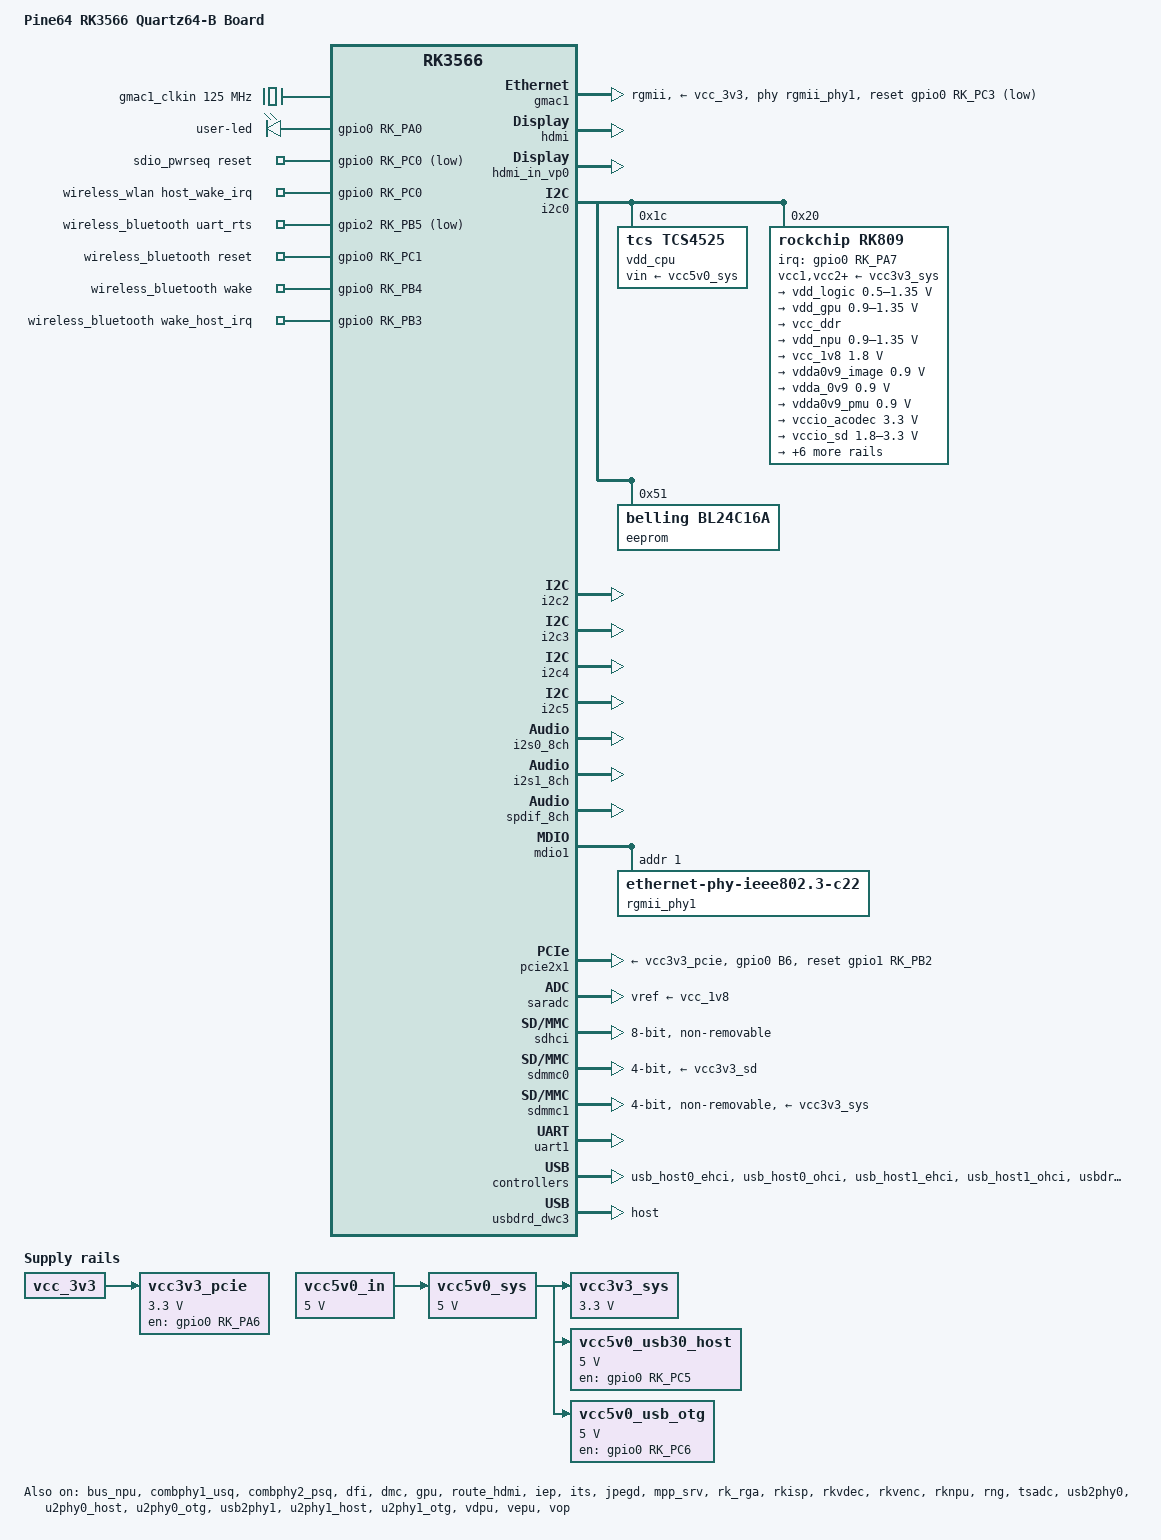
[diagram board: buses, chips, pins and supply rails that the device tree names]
// SPDX&sata1 -License-Identifier: (GPL-2.0+ OR MIT)
/*
 *
 */

/dts-v1/;

#include <dt-bindings/gpio/gpio.h>
#include <dt-bindings/pwm/pwm.h>
#include <dt-bindings/pinctrl/rockchip.h>
#include <dt-bindings/input/rk-input.h>
#include <dt-bindings/display/drm_mipi_dsi.h>
#include <dt-bindings/sensor-dev.h>
#include <dt-bindings/display/media-bus-format.h>
#include <dt-bindings/display/rockchip_vop.h>
/* for 1056000 memeory speed */
//#include "rk3566-diff3.dtsi"
/* for 1560000 memeory speed */
//#include "rk3566-diff2.dtsi" 
#include "rk3566.dtsi"
#include "rk3568-android.dtsi"


/ {
	model = "Pine64 RK3566 Quartz64-B Board";
	compatible = "pine64,quartz64-b", "rockchip,rk3566";

//	chosen: chosen {
//		bootargs = "earlycon=uart8250,mmio32,0xfe660000 console=ttyFIQ0 root=PARTLABEL=rootfs rootfstype=ext4 rw rootwait overlayroot=device:dev=PARTLABEL=userdata,fstype=ext4,mkfs=1";
//	};
//	chosen: chosen {
//		bootargs = "earlycon=uart8250,mmio32,0xfe660000 console=ttyFIQ0";
//

	aliases {
		ethernet0 = &gmac1;
		mmc0 = &sdmmc0;
		mmc1 = &sdhci;
		mmc2 = &sdmmc1;
	};

	chosen: chosen {
		stdout-path = "serial2:1500000n8";
	};

	gmac1_clkin: external-gmac1-clock {
		compatible = "fixed-clock";
		clock-frequency = <125000000>;
		clock-output-names = "gmac1_clkin";
		#clock-cells = <0>;
	};

	leds {
		compatible = "gpio-leds";

		led-user {
			label = "user-led";
			default-state = "on";
			gpios = <&gpio0 RK_PA0 GPIO_ACTIVE_HIGH>;
			linux,default-trigger = "heartbeat";
			pinctrl-names = "default";
			pinctrl-0 = <&user_led_enable_h>;
			retain-state-suspended;
		};
	};

	hdmi_sound: hdmi-sound {
		compatible = "simple-audio-card";
		simple-audio-card,format = "i2s";
		simple-audio-card,mclk-fs = <128>;
		simple-audio-card,name = "rockchip,hdmi";
		status = "okay";

		simple-audio-card,cpu {
				sound-dai = <&i2s0_8ch>;
		};
		simple-audio-card,codec {
				sound-dai = <&hdmi>;
		};
	};

	pdmics: dummy-codec {
		status = "disabled";
		compatible = "rockchip,dummy-codec";
		#sound-dai-cells = <0>;
	};

	pdm_mic_array: pdm-mic-array {
		status = "disabled";
		compatible = "simple-audio-card";
		simple-audio-card,name = "rockchip,pdm-mic-array";
		simple-audio-card,cpu {
			sound-dai = <&pdm>;
		};
		simple-audio-card,codec {
			sound-dai = <&pdmics>;
		};
	};

	rk809_sound: rk809-sound {
		status = "okay";
		compatible = "simple-audio-card";
		simple-audio-card,format = "i2s";
		simple-audio-card,name = "rockchip,rk809-codec";
		simple-audio-card,mclk-fs = <256>;

		simple-audio-card,cpu {
			sound-dai = <&i2s1_8ch>;
		};
		simple-audio-card,codec {
			sound-dai = <&rk809_codec>;
		};
	};

	reserved_memory: reserved-memory {
		#address-cells = <2>;
		#size-cells = <2>;
		ranges;
		
		rknpu_reserved: rknpu {
			compatible = "shared-dma-pool";
			inactive;
			reusable;     
			size = <0x0 0x20000000>;
			alignment = <0x0 0x1000>;
		};
	};

	sdio_pwrseq: sdio-pwrseq {
		status = "okay";
		compatible = "mmc-pwrseq-simple";
		clocks = <&rk809 1>;
		clock-names = "ext_clock";
		pinctrl-names = "default";
		pinctrl-0 = <&wifi_enable_h>;
		reset-gpios = <&gpio0 RK_PC0 GPIO_ACTIVE_LOW>;
		post-power-on-delay-ms = <100>;
		power-off-delay-us = <5000000>;
	};

	vcc5v0_in: vcc5v0_in {
		compatible = "regulator-fixed";
		regulator-name = "vcc5v0_in";
		regulator-always-on;
		regulator-boot-on;
		regulator-min-microvolt = <5000000>;
		regulator-max-microvolt = <5000000>;
	};

	vcc5v0_sys: vcc5v0_sys {
		compatible = "regulator-fixed";
		regulator-name = "vcc5v0_sys";
		regulator-always-on;
		regulator-boot-on;
		regulator-min-microvolt = <5000000>;
		regulator-max-microvolt = <5000000>;
		vin-supply = <&vcc5v0_in>;
	};

	vcc3v3_sys: vcc3v3_sys {
		compatible = "regulator-fixed";
		regulator-name = "vcc3v3_sys";
		regulator-min-microvolt = <3300000>;
		regulator-max-microvolt = <3300000>;
		regulator-always-on;
		vin-supply = <&vcc5v0_sys>;
	};

	vcc5v0_usb30_host: vcc5v0_usb30_host {
		compatible = "regulator-fixed";
		regulator-name = "vcc5v0_usb30_host";
		enable-active-high;
		gpio = <&gpio0 RK_PC5 GPIO_ACTIVE_HIGH>;
		pinctrl-names = "default";
		pinctrl-0 = <&vcc5v0_usb30_host_en_h>;
		regulator-always-on;
		regulator-min-microvolt = <5000000>;
		regulator-max-microvolt = <5000000>;
		vin-supply = <&vcc5v0_sys>;
	};

	vcc5v0_usb_otg: vcc5v0_usb_otg {
		compatible = "regulator-fixed";
		regulator-name = "vcc5v0_usb_otg";
		enable-active-high;
		gpio = <&gpio0 RK_PC6 GPIO_ACTIVE_HIGH>;
		pinctrl-names = "default";
		pinctrl-0 = <&vcc5v0_usb_otg_en_h>;
		regulator-always-on;
		regulator-min-microvolt = <5000000>;
		regulator-max-microvolt = <5000000>;
		vin-supply = <&vcc5v0_sys>;
	};

	vcc3v3_pcie: vcc3v3_pcie {
		compatible = "regulator-fixed";
		regulator-name = "vcc3v3_pcie";
		enable-active-high;
		gpio = <&gpio0 RK_PA6 GPIO_ACTIVE_HIGH>;
		pinctrl-names = "default";
		pinctrl-0 = <&vcc3v3_pcie_en_h>;
		regulator-min-microvolt = <3300000>;
		regulator-max-microvolt = <3300000>;
		vin-supply = <&vcc_3v3>;
	};


	wireless_wlan: wireless-wlan {
    
		compatible = "wlan-platdata";
		rockchip,grf = <&grf>;
		clocks = <&rk809 1>;
		clock-names = "clk_wifi";
		wifi_chip_type = "ap6255";
		pinctrl-names = "default";
		pinctrl-0 = <&wifi_host_wake_irq>;
		WIFI,host_wake_irq = <&gpio0 RK_PC0 GPIO_ACTIVE_HIGH>;
		status = "okay";
	};

	wireless_bluetooth: wireless-bluetooth {
    
		compatible = "bluetooth-platdata";
		clocks = <&rk809 1>;
		clock-names = "ext_clock";
		//wifi-bt-power-toggle;
		uart_rts_gpios = <&gpio2 RK_PB5 GPIO_ACTIVE_LOW>;
		pinctrl-names = "default", "rts_gpio";
		pinctrl-0 = <&uart1m0_rtsn>;
		pinctrl-1 = <&uart1_gpios>;
		BT,reset_gpio    = <&gpio0 RK_PC1 GPIO_ACTIVE_HIGH>;
		BT,wake_gpio     = <&gpio0 RK_PB4 GPIO_ACTIVE_HIGH>;
		BT,wake_host_irq = <&gpio0 RK_PB3 GPIO_ACTIVE_HIGH>;
		status = "okay";
	};

};

&bus_npu {
	bus-supply = <&vdd_logic>;
	pvtm-supply = <&vdd_cpu>;
	status = "okay";
};

&combphy1_usq {
	status = "okay";
};

&combphy2_psq {
	status = "okay";
};

&cpu0 {
	cpu-supply = <&vdd_cpu>;
};


&dfi {
	status = "okay";
};

// &display_subsystem {
//    status = "okay";
// };

&dmc {
	//auto-freq-en = <0>;
	center-supply = <&vdd_logic>;
	status = "okay";
};

&gmac1 {
	phy-mode = "rgmii";
	clock_in_out = "input";
	
	snps,reset-gpio = <&gpio0 RK_PC3 GPIO_ACTIVE_LOW>;
	snps,reset-active-low;
	/* Reset time is 20ms, 100ms for rtl8211f */
	snps,reset-delays-us = <0 20000 100000>;
	
	assigned-clocks = <&cru SCLK_GMAC1_RX_TX>, <&cru SCLK_GMAC1_RGMII_SPEED>, <&cru SCLK_GMAC1>;
	assigned-clock-parents = <&cru SCLK_GMAC1_RGMII_SPEED>, <&cru SCLK_GMAC1>, <&gmac1_clkin>;
	
	
	pinctrl-names = "default";
	pinctrl-0 = <&gmac1m0_miim
		     &gmac1m0_tx_bus2
		     &gmac1m0_rx_bus2
		     &gmac1m0_rgmii_clk
		     &gmac1m0_clkinout
		     &gmac1m0_rgmii_bus>;
	
	tx_delay = <0x30>;
	rx_delay = <0x10>;
	
	phy-handle = <&rgmii_phy1>;
	phy-supply = <&vcc_3v3>;
	status = "okay";
};

&gpu {
	mali-supply = <&vdd_gpu>;
	status = "okay";
};

&hdmi {
	status = "okay";
};

&hdmi_in_vp0 {
	status = "okay";
};

&hdmi_in_vp1 {
	status = "disabled";
};

&hdmi_sound {
	status = "okay";
};

&route_hdmi {
	status = "okay";
	connect = <&vp0_out_hdmi>;
};

//&video_phy0 {
//	status = "okay";
//};

&video_phy1 {
	status = "disabled";
};


&i2c0 {
	status = "okay";

	vdd_cpu: regulator@1c {
		compatible = "tcs,tcs4525";
		reg = <0x1c>;
		fcs,suspend-voltage-selector = <1>;
		regulator-name = "vdd_cpu";
		regulator-min-microvolt = <800000>;
		regulator-max-microvolt = <1150000>;
		regulator-ramp-delay = <2300>;
		regulator-always-on;
		regulator-boot-on;
		vin-supply = <&vcc5v0_sys>;

		regulator-state-mem {
			regulator-off-in-suspend;
		};
	};

	rk809: pmic@20 {
		compatible = "rockchip,rk809";
		reg = <0x20>;
		interrupt-parent = <&gpio0>;
		interrupts = <RK_PA7 IRQ_TYPE_LEVEL_LOW>;
		clock-output-names = "rk808-clkout1", "rk808-clkout2";

		pinctrl-names = "default";
		pinctrl-0 = <&pmic_int>;
		rockchip,system-power-controller;
		wakeup-source;
		#clock-cells = <1>;

		vcc1-supply = <&vcc3v3_sys>;
		vcc2-supply = <&vcc3v3_sys>;
		vcc3-supply = <&vcc3v3_sys>;
		vcc4-supply = <&vcc3v3_sys>;
		vcc5-supply = <&vcc3v3_sys>;
		vcc6-supply = <&vcc3v3_sys>;
		vcc7-supply = <&vcc3v3_sys>;
		vcc8-supply = <&vcc3v3_sys>;
		vcc9-supply = <&vcc3v3_sys>;

		regulators {
			vdd_logic: DCDC_REG1 {
				regulator-name = "vdd_logic";
				regulator-always-on;
				regulator-boot-on;
				regulator-min-microvolt = <500000>;
				regulator-max-microvolt = <1350000>;
				regulator-init-microvolt = <900000>;
				regulator-ramp-delay = <6001>;

				regulator-state-mem {
					regulator-on-in-suspend;
					regulator-suspend-microvolt = <900000>;
				};
			};

			vdd_gpu: DCDC_REG2 {
				regulator-name = "vdd_gpu";
				regulator-always-on;
				regulator-boot-on;
				regulator-min-microvolt = <900000>;
				regulator-max-microvolt = <1350000>;
				regulator-init-microvolt = <900000>;
				regulator-ramp-delay = <6001>;

				regulator-state-mem {
					regulator-off-in-suspend;
					regulator-suspend-microvolt = <900000>;
				};
			};

			vcc_ddr: DCDC_REG3 {
				regulator-name = "vcc_ddr";
				regulator-always-on;
				regulator-boot-on;
				regulator-initial-mode = <0x2>;
				regulator-state-mem {
					regulator-on-in-suspend;
				};
			};

			vdd_npu: DCDC_REG4 {
				regulator-name = "vdd_npu";
				regulator-min-microvolt = <900000>;
				regulator-max-microvolt = <1350000>;
				regulator-initial-mode = <0x2>;
				regulator-state-mem {
					regulator-off-in-suspend;
				};
			};

			vcc_1v8: DCDC_REG5 {
				regulator-name = "vcc_1v8";
				regulator-always-on;
				regulator-boot-on;
				regulator-min-microvolt = <1800000>;
				regulator-max-microvolt = <1800000>;

				regulator-state-mem {
					regulator-on-in-suspend;
					regulator-suspend-microvolt = <1800000>;
				};
			};

			vdda0v9_image: LDO_REG1 {
				regulator-name = "vdda0v9_image";
				regulator-always-on;
				regulator-boot-on;
				regulator-min-microvolt = <900000>;
				regulator-max-microvolt = <900000>;

				regulator-state-mem {
					regulator-on-in-suspend;
					regulator-suspend-microvolt = <900000>;
				};
			};

			vdda_0v9: LDO_REG2 {
				regulator-name = "vdda_0v9";
				regulator-always-on;
				regulator-boot-on;
				regulator-min-microvolt = <900000>;
				regulator-max-microvolt = <900000>;

				regulator-state-mem {
					regulator-on-in-suspend;
					regulator-suspend-microvolt = <900000>;
				};
			};

			vdda0v9_pmu: LDO_REG3 {
				regulator-name = "vdda0v9_pmu";
				regulator-always-on;
				regulator-boot-on;
				regulator-min-microvolt = <900000>;
				regulator-max-microvolt = <900000>;
				regulator-state-mem {
					regulator-on-in-suspend;
					regulator-suspend-microvolt = <900000>;
				};
			};

			vccio_acodec: LDO_REG4 {
				regulator-name = "vccio_acodec";
				regulator-always-on;
				regulator-boot-on;
				regulator-min-microvolt = <3300000>;
				regulator-max-microvolt = <3300000>;

				regulator-state-mem {
					regulator-on-in-suspend;
					regulator-suspend-microvolt = <3300000>;

				};
			};

			vccio_sd: LDO_REG5 {
				regulator-name = "vccio_sd";
				regulator-always-on;
				regulator-boot-on;
				regulator-min-microvolt = <1800000>;
				regulator-max-microvolt = <3300000>;

				regulator-state-mem {
					regulator-on-in-suspend;
					regulator-suspend-microvolt = <3300000>;
				};
			};

			vcc3v3_pmu: LDO_REG6 {
				regulator-name = "vcc3v3_pmu";
				regulator-always-on;
				regulator-boot-on;
				regulator-min-microvolt = <3300000>;
				regulator-max-microvolt = <3300000>;

				regulator-state-mem {
					regulator-on-in-suspend;
					regulator-suspend-microvolt = <3300000>;
				};
			};

			vcca_1v8: LDO_REG7 {
				regulator-name = "vcca_1v8";
				regulator-always-on;
				regulator-boot-on;
				regulator-min-microvolt = <1800000>;
				regulator-max-microvolt = <1800000>;

				regulator-state-mem {
					regulator-on-in-suspend;
					regulator-suspend-microvolt = <1800000>;
				};
			};

			vcca1v8_pmu: LDO_REG8 {
				regulator-name = "vcca1v8_pmu";
				regulator-always-on;
				regulator-boot-on;
				regulator-min-microvolt = <1800000>;
				regulator-max-microvolt = <1800000>;

				regulator-state-mem {
					regulator-on-in-suspend;
					regulator-suspend-microvolt = <1800000>;
				};
			};

			vcca1v8_image: LDO_REG9 {
				regulator-name = "vcca1v8_image";
				regulator-always-on;
				regulator-boot-on;
				regulator-min-microvolt = <1800000>;
				regulator-max-microvolt = <1800000>;

				regulator-state-mem {
					regulator-on-in-suspend;
					regulator-suspend-microvolt = <1800000>;
				};
			};

			vcc_3v3: SWITCH_REG1 {
				regulator-boot-on;
				regulator-name = "vcc_3v3";
			};

			vcc3v3_sd: SWITCH_REG2 {
				regulator-name = "vcc3v3_sd";
			};
		};

		rk809_codec: codec {
			#sound-dai-cells = <0>;
			compatible = "rockchip,rk809-codec", "rockchip,rk817-codec";
			clocks = <&cru I2S1_MCLKOUT>;
			clock-names = "mclk";
			assigned-clocks = <&cru I2S1_MCLKOUT>, <&cru I2S1_MCLK_TX_IOE>;
			assigned-clock-rates = <12288000>;
			assigned-clock-parents = <&cru I2S1_MCLKOUT_TX>, <&cru I2S1_MCLKOUT_TX>;
			pinctrl-names = "default";
			pinctrl-0 = <&i2s1m0_mclk>;
			hp-volume = <20>;
			spk-volume = <3>;
			mic-in-differential;
			status = "okay";
		};
	
};

	eeprom@51 {
		compatible = "belling,bl24c16a", "atmel,24c16";
		reg = <0x51>;
		pagesize = <16>;
	};
};

/* i2c2_m1 exposed on csi port, pulled up to vcc_gmac */
&i2c2 {
	pinctrl-names = "default";
	pinctrl-0 = <&i2c2m1_xfer>;
	status = "okay";
};

/* i2c3_m1 exposed on dsi port, pulled up to vcc_gmac */
&i2c3 {
	pinctrl-names = "default";
	pinctrl-0 = <&i2c3m1_xfer>;
	status = "okay";
};

/* i2c4_m0 is exposed on PI40
 * pin 27 - i2c4_sda_m0
 * pin 28 - i2c4_scl_m0
 */
&i2c4 {
	status = "okay";
};

/* i2c5_m0 is exposed on PI40
 * pin 29 - i2c5_scl_m0
 * pin 31 - i2c5_sda_m0
 */
&i2c5 {
	status = "okay";
};

&i2s0_8ch {
	status = "okay";
};

&i2s1_8ch {
    
	status = "okay";
	rockchip,clk-trcm = <1>;
	pinctrl-names = "default";
	pinctrl-0 = <&i2s1m0_sclktx
		     &i2s1m0_lrcktx
		     &i2s1m0_sdi0
		     &i2s1m0_sdo0>;
};

&spdif_8ch {
	status = "okay";
};

&iep {
	status = "okay";
};

&iep_mmu {
	status = "okay";
};

&its {
    status = "okay";
};

&jpegd {
	status = "okay";
};

&jpegd_mmu {
	status = "okay";
};

&mdio1 {
	rgmii_phy1: ethernet-phy@0 {
		compatible = "ethernet-phy-ieee802.3-c22";
		reg = <0x1>;
	};
};

&mpp_srv {
	status = "okay";
};

&nandc0 {
	status = "disabled";
};

&pcie2x1 {
	pinctrl-names = "default";
	pinctrl-0 = <&pcie_reset_h>;
	reset-gpios = <&gpio1 RK_PB2 GPIO_ACTIVE_HIGH>;
	vpcie3v3-supply = <&vcc3v3_pcie>;
	status = "okay";
};

&pinctrl {
	bt {
		bt_enable_h: bt-enable-h {
			rockchip,pins = <0 RK_PC1 RK_FUNC_GPIO &pcfg_pull_none>;
		};

		bt_host_wake_l: bt-host-wake-l {
			rockchip,pins = <0 RK_PB3 RK_FUNC_GPIO &pcfg_pull_down>;
		};

		bt_wake_l: bt-wake-l {
			rockchip,pins = <0 RK_PB4 RK_FUNC_GPIO &pcfg_pull_none>;
		};
	};

	leds {
		user_led_enable_h: user-led-enable-h {
			rockchip,pins = <0 RK_PA0 RK_FUNC_GPIO &pcfg_pull_none>;
		};
	};

	pcie {
		vcc3v3_pcie_en_h: vcc3v3-pcie-en-h {
			rockchip,pins = <0 RK_PA6 RK_FUNC_GPIO &pcfg_pull_none>;
		};

		pcie_reset_h: pcie-reset-h {
			rockchip,pins = <0 RK_PB6 RK_FUNC_GPIO &pcfg_pull_none>;
		};
	};

	pmic {
		pmic_int: pmic_int {
			rockchip,pins =
				<0 RK_PA3 RK_FUNC_GPIO &pcfg_pull_up>;
		};
	};

	sdio-pwrseq {
		wifi_enable_h: wifi-enable-h {
			rockchip,pins = <0 RK_PC0 RK_FUNC_GPIO &pcfg_pull_none>;
		};
	};

	wireless-bluetooth {
		uart1_gpios: uart1-gpios {
			rockchip,pins = <2 RK_PB5 RK_FUNC_GPIO &pcfg_pull_none>;
		};
	};

	wireless-wlan {
		wifi_host_wake_irq: wifi-host-wake-irq {
			rockchip,pins = <2 RK_PC3 RK_FUNC_GPIO &pcfg_pull_down>;
		};
	};

	usb {
		vcc5v0_usb30_host_en_h: vcc5v0-usb30-host-en_h {
			rockchip,pins = <0 RK_PC5 RK_FUNC_GPIO &pcfg_pull_none>;
		};

		vcc5v0_usb_otg_en_h: vcc5v0-usb-otg-en_h {
			rockchip,pins = <0 RK_PC6 RK_FUNC_GPIO &pcfg_pull_none>;
		};
	};
};

&pmu_io_domains {
	status = "okay";
	pmuio1-supply = <&vcc3v3_pmu>;
	pmuio2-supply = <&vcca1v8_pmu>;
	vccio1-supply = <&vccio_acodec>;
	vccio2-supply = <&vcc_1v8>;
	vccio3-supply = <&vccio_sd>;
	vccio4-supply = <&vcca1v8_pmu>;
	vccio5-supply = <&vcc_3v3>;
	vccio6-supply = <&vcc_3v3>;
	vccio7-supply = <&vcc_3v3>;
};


&rk_rga {
	status = "okay";
};

&rkisp {
	status = "okay";
};

&rkisp_mmu {
	status = "okay";
};

&rkisp_vir0 {
	status = "disabled";

};

&rkvdec {
	status = "okay";
};

&rkvdec_mmu {
	status = "okay";
};

&rkvenc {
	venc-supply = <&vdd_logic>;
	status = "okay";
};

&rkvenc_mmu {
	status = "okay";
};

&rknpu {
	memory-region = <&rknpu_reserved>;
	rknpu-supply = <&vdd_npu>;
	status = "okay";
};

&rknpu_mmu {
	status = "disabled";
};

&rng {
	status = "okay";
};


&saradc {
	status = "okay";
	vref-supply = <&vcc_1v8>;
};

/* sata1 is muxed with the usb3 port */
&sata1 {
	status = "disabled";
//	status = "okay";
};

/* sata2 is muxed with the pcie2 slot*/
/delete-node/ &sata2;
//&sata2 {
//	target-supply = <&pcie20_3v3>;
//	status = "disabled";
//	status = "okay";
//};

&sdhci {
	bus-width = <8>;
	supports-emmc;
	non-removable;
	keep-power-in-suspend;
	rockchip,txclk-tapnum = <0x8>;
	max-frequency = <200000000>;
	status = "okay";
};

&sdmmc0 {
	max-frequency = <150000000>;
	supports-sd;
	bus-width = <4>;
	cap-mmc-highspeed;
	cap-sd-highspeed;
	disable-wp;
	sd-uhs-sdr104;
	vmmc-supply = <&vcc3v3_sd>;
	vqmmc-supply = <&vccio_sd>;
	pinctrl-names = "default";
	pinctrl-0 = <&sdmmc0_bus4 &sdmmc0_clk &sdmmc0_cmd &sdmmc0_det>;
	status = "okay";
};

&sdmmc1 {
	max-frequency=<150000000>;
	supports-sdio;
	bus-width = <4>;
	disable-wp;
	cap-sd-highspeed;
	cap-sdio-irq;
	keep-power-in-suspend;
	non-removable;
	rockchip,default-sample-phase=<90>;
	mmc-pwrseq = <&sdio_pwrseq>;
	non-removable;
	vmmc-supply = <&vcc3v3_sys>;
	vqmmc-supply = <&vcc_1v8>;
	pinctrl-names = "default";
	pinctrl-0 = <&sdmmc1_bus4 &sdmmc1_cmd &sdmmc1_clk>;
	sd-uhs-sdr104;
	status = "okay";
};

&sfc {
	#address-cells = <1>;
	#size-cells = <0>;
	status = "disabled";

	flash@0 {
		compatible = "jedec,spi-nor";
		reg = <0>;
		spi-max-frequency = <108000000>;
		spi-rx-bus-width = <4>;
		spi-tx-bus-width = <1>;
	};
};

&tsadc {
	status = "okay";
};

&thermal_zones{
	soc_thermal: soc-thermal {
		trips {
			threshold: trip-point-0 {
				temperature = <75000>; /* millicelsius */
				hysteresis = <2000>; /* millicelsius */
				type = "passive";
			};
			target: trip-point-1 {
				temperature = <90000>; /* millicelsius */
				hysteresis = <2000>; /* millicelsius */
				type = "passive";
			};
			soc_crit: soc-crit {
				temperature = <120000>; /* millicelsius */
				hysteresis = <2000>; /* millicelsius */
				type = "critical";
			};
		};
	};
};

&uart1 {
	status = "okay";
	pinctrl-names = "default";
	pinctrl-0 = <&uart1m0_xfer &uart1m0_ctsn>;
};

&uart2 {
//	status = "okay";
	pinctrl-names = "default";
	pinctrl-0 = <&uart2m0_xfer>;
};



&usb_host0_ehci {
	status = "okay";
};

&usb_host0_ohci {
	status = "okay";
};

&usb_host1_ehci {
	status = "okay";
};

&usb_host1_ohci {
	status = "okay";
};

&usb2phy0 {
	status = "okay";
};


&u2phy0_host {
	phy-supply = <&vcc5v0_usb30_host>;
	status = "okay";
};

&u2phy0_otg {
	vbus-supply = <&vcc5v0_usb_otg>;
	status = "okay";
};

&usb2phy1 {
	status = "okay";
};

&u2phy1_host {
	phy-supply = <&vcc5v0_usb30_host>;
	status = "okay";
};

&u2phy1_otg {
	phy-supply = <&vcc5v0_usb30_host>;
	status = "okay";
};

&usbdrd_dwc3 {
	dr_mode = "host";
	extcon = <&usb2phy0>;
	status = "okay";
};

&usbdrd30 {
	status = "okay";
};

/* usb3 controller is muxed with sata1 */
&usbhost_dwc3 {
	status = "okay";
};

/* usb3 controller is muxed with sata1 */
&usbhost30 {
	status = "okay";
};

&vad {
	rockchip,audio-src = <&i2s1_8ch>;
	rockchip,buffer-time-ms = <128>;
	rockchip,det-channel = <0>;
	rockchip,mode = <0>;
};

&vdpu {
	status = "okay";
};

&vdpu_mmu {
	status = "okay";
};

&vepu {
	status = "okay";
};

&vepu_mmu {
	status = "okay";
};

&vop {
	// disable-win-move;
        //support-multi-area;
        cursor-win-id = <ROCKCHIP_VOP2_CLUSTER0>;
	assigned-clocks = <&cru DCLK_VOP0>, <&cru DCLK_VOP1>;
	assigned-clock-parents = <&pmucru PLL_HPLL>, <&cru PLL_VPLL>;
	status = "okay";
};

&vop_mmu {
	status = "okay";
};
